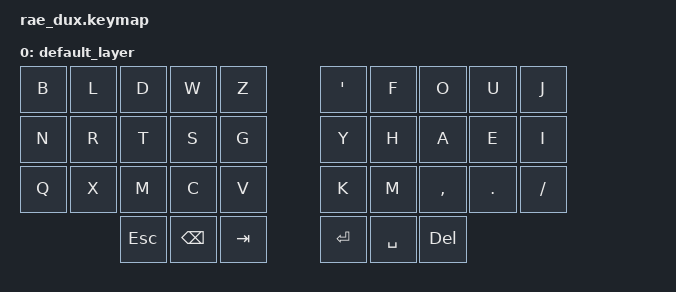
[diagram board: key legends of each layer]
#include <behaviors.dtsi>
#include <dt-bindings/zmk/keys.h>

/ {
    keymap {
        compatible = "zmk,keymap";

        default_layer {
// --------------------------------------------------------------------------------------------------------------------------------------------------------------------
// |    B    |    L    |    D    |    W    |    Z    |  |    '    |    F    |    O    |    U    |    J    |
// |    N    |    R    |    T    |    S    |    G    |  |    Y    |    H    |    A    |    E    |    I    |
// |    Q    |    X    |    M    |    C    |    V    |  |    K    |    P    |    ,    |    .    |    /    |
//                     |   ESC   |  SPACE  |   TAB   |  |   RET   |   BSPC  |   DEL   |

            bindings = <
    &kp B    &kp L    &kp D     &kp W     &kp Z     &kp APOS  &kp F      &kp O     &kp U     &kp J
    &kp N    &kp R    &kp T     &kp S     &kp G     &kp Y     &kp H      &kp A     &kp E     &kp I
    &kp Q    &kp X    &kp M     &kp C     &kp V     &kp K     &kp M      &kp COMMA &kp DOT   &kp FSLH
                      &kp ESC   &kp BSPC  &kp TAB   &kp RET   &kp SPACE  &kp DEL
            >;
        };
    };
};
